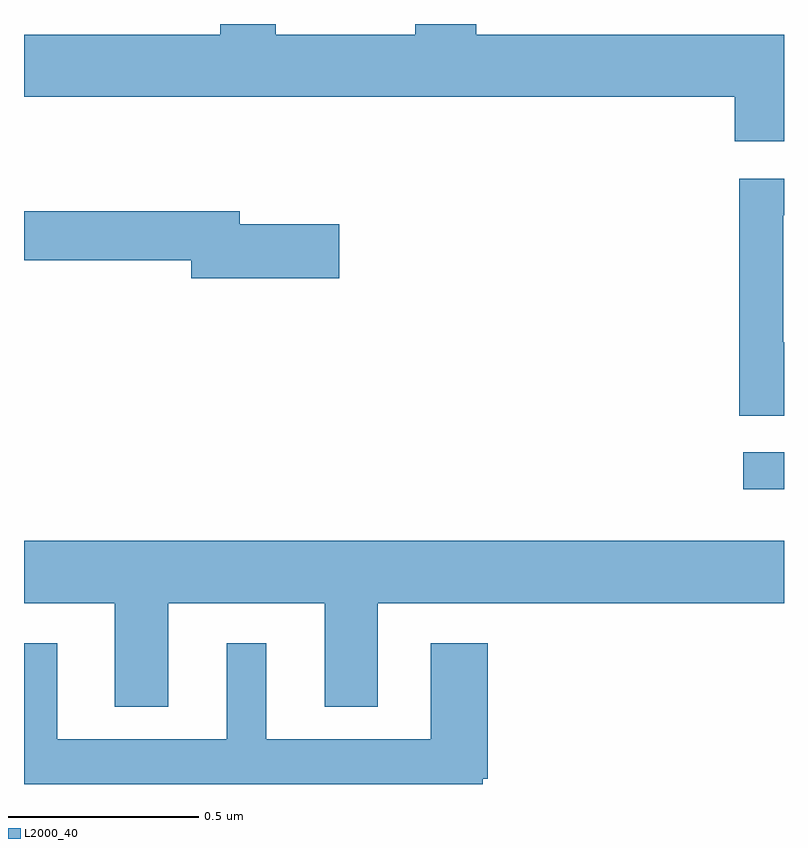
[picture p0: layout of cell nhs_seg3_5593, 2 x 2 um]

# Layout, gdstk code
import gdstk
lib = gdstk.Library(unit=1e-6, precision=1e-09)
def R(c, l, rs):  # rectangles x0, y0, x1, y1
    for r in rs: c.add(gdstk.rectangle(r[:2], r[2:], *l))
def P(c, l, *ps):  # polygons
    for p in ps: c.add(gdstk.Polygon(p, *l))
L2000_40 = (2000, 40)

nhs_seg3_5593 = lib.new_cell('nhs_seg3_5593')
R(nhs_seg3_5593, L2000_40, [(181.893,741.176,182,741.273)])
P(nhs_seg3_5593, L2000_40, [(182,742.372),(181.19,742.372),(181.19,742.4),(181.03,742.4),(181.03,742.372),(180.663,742.372),(180.663,742.4),(180.516,742.4),(180.516,742.372),(180,742.372),(180,742.208),(181.871,742.208),(181.871,742.091),(182,742.091)],
  [(182,741.562),(181.998,741.562),(181.998,741.897),(182,741.897),(182,741.993),(181.882,741.993),(181.882,741.369),(182,741.369)],
  [(180.829,741.873),(180.568,741.873),(180.568,741.907),(180,741.907),(180,741.778),(180.44,741.778),(180.44,741.731),(180.829,741.731)],
  [(180.379,740.876),(180.791,740.876),(180.791,740.603),(180.931,740.603),(180.931,740.876),(182,740.876),(182,741.04),(180,741.04),(180,740.876),(180.239,740.876),(180.239,740.603),(180.379,740.603)],
  [(181.207,740.414),(181.22,740.414),(181.22,740.77),(181.07,740.77),(181.07,740.518),(180.637,740.518),(180.637,740.77),(180.533,740.77),(180.533,740.518),(180.088,740.518),(180.088,740.77),(180,740.77),(180,740.4),(181.207,740.4)])

lib.write_gds('nhs_seg3_5593.gds')
